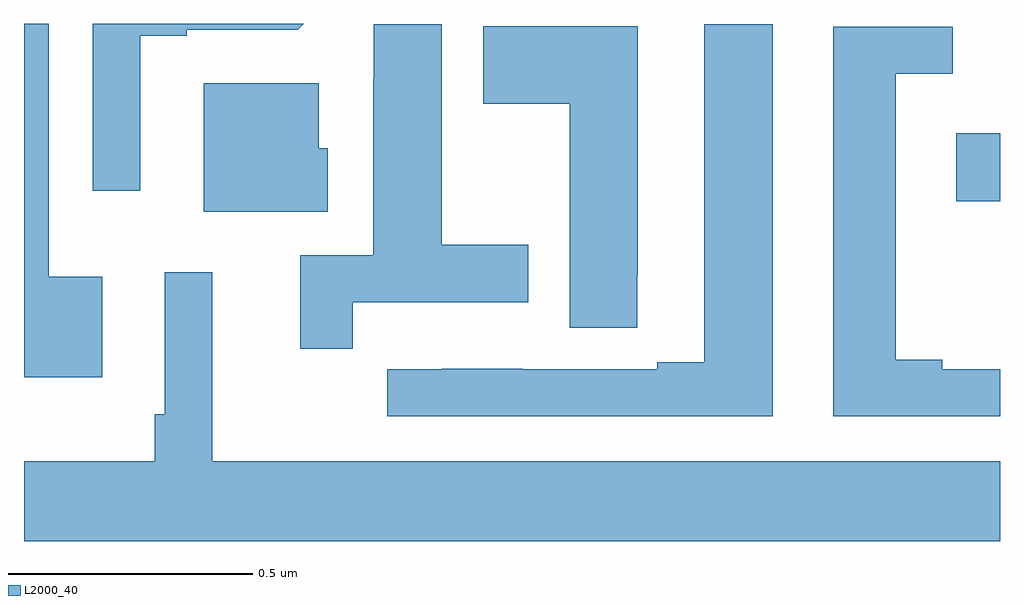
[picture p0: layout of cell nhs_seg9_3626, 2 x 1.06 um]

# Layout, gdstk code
import gdstk
lib = gdstk.Library(unit=1e-6, precision=1e-09)
def R(c, l, rs):  # rectangles x0, y0, x1, y1
    for r in rs: c.add(gdstk.rectangle(r[:2], r[2:], *l))
def P(c, l, *ps):  # polygons
    for p in ps: c.add(gdstk.Polygon(p, *l))
L2000_40 = (2000, 40)

nhs_seg9_3626 = lib.new_cell('nhs_seg9_3626')
R(nhs_seg9_3626, L2000_40, [(157.91,1177.136,158,1177.276)])
P(nhs_seg9_3626, L2000_40, [(156.16,1176.982),(156.051,1176.982),(156.051,1177.5),(156,1177.5),(156,1176.776),(156.16,1176.776)],
  [(156.238,1177.476),(156.334,1177.476),(156.334,1177.488),(156.561,1177.488),(156.573,1177.5),(156.141,1177.5),(156.141,1177.158),(156.238,1177.158)],
  [(156.674,1176.93),(157.033,1176.93),(157.033,1177.047),(156.856,1177.047),(156.856,1177.499),(156.717,1177.499),(156.717,1177.388),(156.716,1177.388),(156.716,1177.026),(156.566,1177.026),(156.566,1176.834),(156.674,1176.834)],
  [(157.534,1177.499),(157.394,1177.499),(157.394,1176.807),(157.298,1176.807),(157.298,1176.792),(157.022,1176.792),(157.022,1176.793),(156.856,1176.793),(156.856,1176.792),(156.744,1176.792),(156.744,1176.696),(157.534,1176.696)],
  [(157.257,1176.985),(157.258,1176.985),(157.258,1177.495),(156.941,1177.495),(156.941,1177.336),(157.118,1177.336),(157.118,1176.877),(157.257,1176.877)],
  [(158,1176.792),(157.882,1176.792),(157.882,1176.812),(157.786,1176.812),(157.786,1177.398),(157.903,1177.398),(157.903,1177.494),(157.658,1177.494),(157.658,1176.696),(158,1176.696)],
  [(156.622,1177.245),(156.604,1177.245),(156.604,1177.378),(156.368,1177.378),(156.368,1177.115),(156.622,1177.115)],
  [(158,1176.604),(156.386,1176.604),(156.386,1176.991),(156.288,1176.991),(156.288,1176.7),(156.268,1176.7),(156.268,1176.604),(156,1176.604),(156,1176.44),(158,1176.44)])

lib.write_gds('nhs_seg9_3626.gds')
